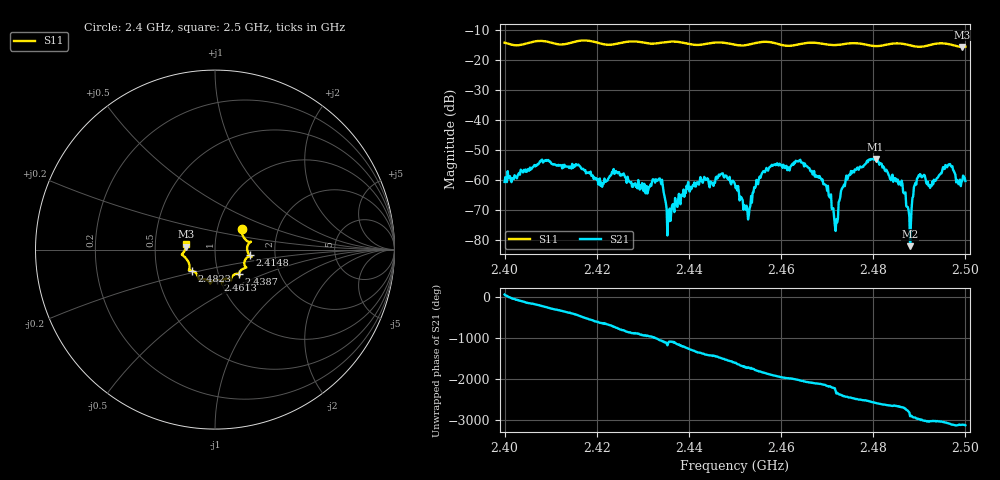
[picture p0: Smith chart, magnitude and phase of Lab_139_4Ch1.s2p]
# Hz S RI R 50
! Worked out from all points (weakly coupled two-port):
!   601 points, 2.4 GHz to 2.5 GHz, reference 50 ohm
!   highest |S21| = -53.10 dB at 2.4805 GHz (marker M1); lowest = -82.2 dB at 2.488 GHz (marker M2)
!   lowest |S11| = -15.8 dB at 2.4993 GHz (marker M3), VSWR 1.39, Z = 36 + j1.27 ohm
!   |S11| at or under -10 dB: start of sweep to end of sweep
!   S12 and S22 are empty: the file has one direction only
!   S11 on the Smith chart (normalised r, x): 2.4 GHz: 1.31, +0.32; 2.4148 GHz: 1.47, -0.10; 2.4387 GHz: 1.25, -0.36; 2.4613 GHz: 0.97, -0.34; 2.4823 GHz: 0.75, -0.18; 2.5 GHz: 0.72, +0.04
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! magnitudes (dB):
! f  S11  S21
! 2.4 GHz  -14.3  -60.8
! 2.4148 GHz  -14.2  -56.1
! 2.4167 GHz  -13.6  -56.4
! 2.4333 GHz  -14.5  -60.0
! 2.4357 GHz  -14.0  -73.9
! 2.4387 GHz  -14.4  -65.4
! 2.45 GHz  -15.0  -61.6
! 2.4528 GHz  -15.0  -73.3
! 2.4563 GHz  -14.1  -57.5
! 2.4613 GHz  -15.4  -56.9
! 2.4667 GHz  -14.3  -57.1
! 2.4697 GHz  -14.9  -61.8
! 2.4718 GHz  -15.1  -77.1
! 2.4747 GHz  -14.6  -58.5
! 2.4805 GHz  -15.5  -53.1
! 2.4823 GHz  -15.2  -55.9
! 2.4833 GHz  -14.9  -58.5
! 2.4858 GHz  -14.6  -60.9
! 2.488 GHz  -15.3  -82.2
! 2.49 GHz  -15.7  -58.9
! 2.4993 GHz  -15.8  -60.3
! 2.5 GHz  -15.7  -60.5
